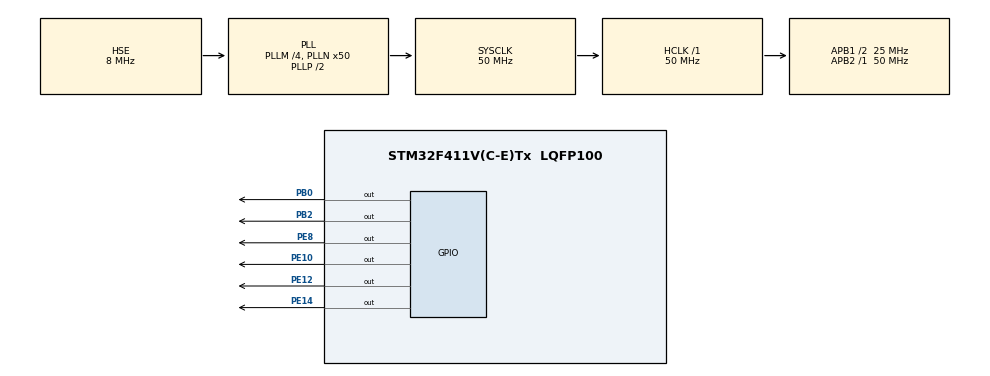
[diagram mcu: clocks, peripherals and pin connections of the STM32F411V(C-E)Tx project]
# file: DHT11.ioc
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Mcu.Family=STM32F4
Mcu.Name=STM32F411V(C-E)Tx
Mcu.Package=LQFP100
NVIC.PriorityGroup=NVIC_PRIORITYGROUP_4
PA13.Mode=Serial_Wire
PA13.Signal=SYS_JTMS-SWDIO
PA14.Mode=Serial_Wire
PA14.Signal=SYS_JTCK-SWCLK
PB0.GPIO_PuPd=GPIO_NOPULL
PB0.GPIO_Speed=GPIO_SPEED_FREQ_HIGH
PB0.Signal=GPIO_Output
PB2.GPIO_PuPd=GPIO_NOPULL
PB2.GPIO_Speed=GPIO_SPEED_FREQ_HIGH
PB2.Signal=GPIO_Output
PE10.GPIO_PuPd=GPIO_NOPULL
PE10.GPIO_Speed=GPIO_SPEED_FREQ_HIGH
PE10.Signal=GPIO_Output
PE12.GPIO_PuPd=GPIO_NOPULL
PE12.GPIO_Speed=GPIO_SPEED_FREQ_HIGH
PE12.Signal=GPIO_Output
PE14.GPIO_PuPd=GPIO_NOPULL
PE14.GPIO_Speed=GPIO_SPEED_FREQ_HIGH
PE14.Signal=GPIO_Output
PE8.GPIO_PuPd=GPIO_NOPULL
PE8.GPIO_Speed=GPIO_SPEED_FREQ_HIGH
PE8.Signal=GPIO_Output
PH0\ -\ OSC_IN.Mode=HSE-External-Oscillator
PH0\ -\ OSC_IN.Signal=RCC_OSC_IN
PH1\ -\ OSC_OUT.Mode=HSE-External-Oscillator
PH1\ -\ OSC_OUT.Signal=RCC_OSC_OUT
ProjectManager.HeapSize=0x200
ProjectManager.StackSize=0x400
ProjectManager.TargetToolchain=STM32CubeIDE
RCC.48MHZClocksFreq_Value=25000000
RCC.AHBFreq_Value=50000000
RCC.APB1CLKDivider=RCC_HCLK_DIV2
RCC.APB1Freq_Value=25000000
RCC.APB1TimFreq_Value=50000000
RCC.APB2Freq_Value=50000000
RCC.APB2TimFreq_Value=50000000
RCC.CortexFreq_Value=50000000
RCC.HCLKFreq_Value=50000000
RCC.HSE_VALUE=8000000
RCC.HSI_VALUE=16000000
RCC.LSE_VALUE=32768
RCC.PLLM=4
RCC.PLLN=50
RCC.PLLSourceVirtual=RCC_PLLSOURCE_HSE
RCC.SYSCLKFreq_VALUE=50000000
RCC.SYSCLKSource=RCC_SYSCLKSOURCE_PLLCLK
RCC.VCOOutputFreq_Value=100000000
TIM2.Period=0xffff-1
TIM2.Prescaler=50-1
VP_TIM2_VS_ClockSourceINT.Mode=Internal
board=custom

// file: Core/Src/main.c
/* USER CODE BEGIN Header */
/**
  ******************************************************************************
  * @file           : main.c
  * @brief          : Main program body
  ******************************************************************************
  * @attention
  *
  * Copyright (c) 2022 STMicroelectronics.
  * All rights reserved.
  *
  * This software is licensed under terms that can be found in the LICENSE file
  * in the root directory of this software component.
  * If no LICENSE file comes with this software, it is provided AS-IS.
  *
  ******************************************************************************
  */
/* USER CODE END Header */
#include "main.h"

/* USER CODE BEGIN Includes */
#include "string.h"
#include "lcd_text.h"
/* USER CODE END Includes */

 TIM_HandleTypeDef htim2;

void SystemClock_Config(void);
static void MX_GPIO_Init(void);
static void MX_TIM2_Init(void);

/* USER CODE BEGIN 0 */
#define DHT11_PORT GPIOA
#define DHT11_PIN GPIO_PIN_1
uint8_t Rh_byte1, Rh_byte2, Temp_byte1, Temp_byte2;
uint16_t SUM, RH, TEMP;

float Temperature = 0;
float Humidity = 0;
uint8_t Presence = 0;

void delay(uint16_t delay) {
	__HAL_TIM_SET_COUNTER(&htim2, 0);
	while (__HAL_TIM_GET_COUNTER(&htim2) < delay)
		;
}
void Set_Pin_Output(GPIO_TypeDef *GPIOx, uint16_t GPIO_Pin) {
	/* GPIO Ports Clock Enable */
	__HAL_RCC_GPIOH_CLK_ENABLE();
	__HAL_RCC_GPIOA_CLK_ENABLE();
	__HAL_RCC_GPIOD_CLK_ENABLE();
	__HAL_RCC_GPIOC_CLK_ENABLE();
	HAL_GPIO_WritePin(GPIOx, GPIO_Pin, GPIO_PIN_RESET);
	GPIO_InitTypeDef GPIO_InitStruct = { 0 };

	GPIO_InitStruct.Pin = GPIO_Pin;
	GPIO_InitStruct.Mode = GPIO_MODE_OUTPUT_PP;
	GPIO_InitStruct.Speed = GPIO_SPEED_FREQ_LOW;
	HAL_GPIO_Init(GPIOx, &GPIO_InitStruct);
}

void Set_Pin_Input(GPIO_TypeDef *GPIOx, uint16_t GPIO_Pin) {
	/* GPIO Ports Clock Enable */
	__HAL_RCC_GPIOH_CLK_ENABLE();
	__HAL_RCC_GPIOA_CLK_ENABLE();
	__HAL_RCC_GPIOD_CLK_ENABLE();
	__HAL_RCC_GPIOC_CLK_ENABLE();
	GPIO_InitTypeDef GPIO_InitStruct = { 0 };
	GPIO_InitStruct.Pin = GPIO_Pin;
	GPIO_InitStruct.Mode = GPIO_MODE_INPUT;
	GPIO_InitStruct.Pull = GPIO_PULLUP;
	HAL_GPIO_Init(GPIOx, &GPIO_InitStruct);
}

void DHT11_Start(void) {
	Set_Pin_Output(DHT11_PORT, DHT11_PIN);  // set the pin as output
	HAL_GPIO_WritePin(DHT11_PORT, DHT11_PIN, 0);   // pull the pin low
	delay(18000);   // wait for 18ms
	HAL_GPIO_WritePin(DHT11_PORT, DHT11_PIN, 1);   // pull the pin high
	delay(20);   // wait for 20us
	Set_Pin_Input(DHT11_PORT, DHT11_PIN);    // set as input
}

uint8_t DHT11_Check_Response(void) {
	uint8_t Response = 0;
	delay(40);
	if (!(HAL_GPIO_ReadPin(DHT11_PORT, DHT11_PIN))) {
		delay(80);
		if ((HAL_GPIO_ReadPin(DHT11_PORT, DHT11_PIN))) {
			Response = 1;
		} else {
			Response = -1;
		} // 255
	}
	while ((HAL_GPIO_ReadPin(DHT11_PORT, DHT11_PIN)))
		;   // wait for the pin to go low

	return Response;
}

uint8_t DHT11_Read(void) {
	uint8_t i, j;
	for (j = 0; j < 8; j++) {
		while (!(HAL_GPIO_ReadPin(DHT11_PORT, DHT11_PIN)))
			;   // wait for the pin to go high
		delay(40);   // wait for 40 us
		if (!(HAL_GPIO_ReadPin(DHT11_PORT, DHT11_PIN)))   // if the pin is low
		{
			i &= ~(1 << (7 - j));   // write 0
		} else {
			i |= (1 << (7 - j));
		}  // if the pin is high, write 1
		while ((HAL_GPIO_ReadPin(DHT11_PORT, DHT11_PIN)))
			;  // wait for the pin to go low
	}
	return i;
}
/* USER CODE END 0 */

int main(void)
{

  /* MCU Configuration--------------------------------------------------------*/

  /* Reset of all peripherals, Initializes the Flash interface and the Systick. */
  HAL_Init();

  /* Configure the system clock */
  SystemClock_Config();

  /* Initialize all configured peripherals */
  MX_GPIO_Init();
  MX_TIM2_Init();
  /* USER CODE BEGIN 2 */
	lcd_init();
	HAL_TIM_Base_Start(&htim2);
	char Humi[16] = { 0 };
	char Temp[16] = { 0 };
  /* USER CODE END 2 */

  /* Infinite loop */
  /* USER CODE BEGIN WHILE */
  while (1)
  {
		DHT11_Start();
		Presence = DHT11_Check_Response();
		Rh_byte1 = DHT11_Read();
		Rh_byte2 = DHT11_Read();
		Temp_byte1 = DHT11_Read();
		Temp_byte2 = DHT11_Read();
		SUM = DHT11_Read();
		TEMP = Temp_byte1;
		RH = Rh_byte1;
		Temperature = (float) (TEMP + (Temp_byte2 / 10.0));
		Humidity = (float) (RH + (Rh_byte2 / 10.0));
		sprintf(Humi, "Humi: %.2f", Humidity);
		sprintf(Temp, "Temp: %.2f", Temperature);
		lcd_puts(0, 0, (int8_t*) Humi);
		lcd_puts(1, 0, (int8_t*) Temp);
		HAL_Delay(3000);
    /* USER CODE END WHILE */

  }
}

void SystemClock_Config(void)
{
  RCC_OscInitTypeDef RCC_OscInitStruct = {0};
  RCC_ClkInitTypeDef RCC_ClkInitStruct = {0};

  /** Configure the main internal regulator output voltage
  */
  __HAL_RCC_PWR_CLK_ENABLE();
  __HAL_PWR_VOLTAGESCALING_CONFIG(PWR_REGULATOR_VOLTAGE_SCALE1);

  /** Initializes the RCC Oscillators according to the specified parameters
  * in the RCC_OscInitTypeDef structure.
  */
  RCC_OscInitStruct.OscillatorType = RCC_OSCILLATORTYPE_HSE;
  RCC_OscInitStruct.HSEState = RCC_HSE_ON;
  RCC_OscInitStruct.PLL.PLLState = RCC_PLL_ON;
  RCC_OscInitStruct.PLL.PLLSource = RCC_PLLSOURCE_HSE;
  RCC_OscInitStruct.PLL.PLLM = 4;
  RCC_OscInitStruct.PLL.PLLN = 50;
  RCC_OscInitStruct.PLL.PLLP = RCC_PLLP_DIV2;
  RCC_OscInitStruct.PLL.PLLQ = 4;
  if (HAL_RCC_OscConfig(&RCC_OscInitStruct) != HAL_OK)
  {
    Error_Handler();
  }

  /** Initializes the CPU, AHB and APB buses clocks
  */
  RCC_ClkInitStruct.ClockType = RCC_CLOCKTYPE_HCLK|RCC_CLOCKTYPE_SYSCLK
                              |RCC_CLOCKTYPE_PCLK1|RCC_CLOCKTYPE_PCLK2;
  RCC_ClkInitStruct.SYSCLKSource = RCC_SYSCLKSOURCE_PLLCLK;
  RCC_ClkInitStruct.AHBCLKDivider = RCC_SYSCLK_DIV1;
  RCC_ClkInitStruct.APB1CLKDivider = RCC_HCLK_DIV2;
  RCC_ClkInitStruct.APB2CLKDivider = RCC_HCLK_DIV1;

  if (HAL_RCC_ClockConfig(&RCC_ClkInitStruct, FLASH_LATENCY_1) != HAL_OK)
  {
    Error_Handler();
  }
}

static void MX_TIM2_Init(void)
{

  TIM_ClockConfigTypeDef sClockSourceConfig = {0};
  TIM_MasterConfigTypeDef sMasterConfig = {0};

  htim2.Instance = TIM2;
  htim2.Init.Prescaler = 50-1;
  htim2.Init.CounterMode = TIM_COUNTERMODE_UP;
  htim2.Init.Period = 0xffff-1;
  htim2.Init.ClockDivision = TIM_CLOCKDIVISION_DIV1;
  htim2.Init.AutoReloadPreload = TIM_AUTORELOAD_PRELOAD_DISABLE;
  if (HAL_TIM_Base_Init(&htim2) != HAL_OK)
  {
    Error_Handler();
  }
  sClockSourceConfig.ClockSource = TIM_CLOCKSOURCE_INTERNAL;
  if (HAL_TIM_ConfigClockSource(&htim2, &sClockSourceConfig) != HAL_OK)
  {
    Error_Handler();
  }
  sMasterConfig.MasterOutputTrigger = TIM_TRGO_RESET;
  sMasterConfig.MasterSlaveMode = TIM_MASTERSLAVEMODE_DISABLE;
  if (HAL_TIMEx_MasterConfigSynchronization(&htim2, &sMasterConfig) != HAL_OK)
  {
    Error_Handler();
  }

}

static void MX_GPIO_Init(void)
{
  GPIO_InitTypeDef GPIO_InitStruct = {0};

  /* GPIO Ports Clock Enable */
  __HAL_RCC_GPIOH_CLK_ENABLE();
  __HAL_RCC_GPIOB_CLK_ENABLE();
  __HAL_RCC_GPIOE_CLK_ENABLE();
  __HAL_RCC_GPIOA_CLK_ENABLE();

  /*Configure GPIO pin Output Level */
  HAL_GPIO_WritePin(GPIOB, GPIO_PIN_0|GPIO_PIN_2, GPIO_PIN_RESET);

  /*Configure GPIO pin Output Level */
  HAL_GPIO_WritePin(GPIOE, GPIO_PIN_8|GPIO_PIN_10|GPIO_PIN_12|GPIO_PIN_14, GPIO_PIN_RESET);

  /*Configure GPIO pins : PB0 PB2 */
  GPIO_InitStruct.Pin = GPIO_PIN_0|GPIO_PIN_2;
  GPIO_InitStruct.Mode = GPIO_MODE_OUTPUT_PP;
  GPIO_InitStruct.Pull = GPIO_NOPULL;
  GPIO_InitStruct.Speed = GPIO_SPEED_FREQ_HIGH;
  HAL_GPIO_Init(GPIOB, &GPIO_InitStruct);

  /*Configure GPIO pins : PE8 PE10 PE12 PE14 */
  GPIO_InitStruct.Pin = GPIO_PIN_8|GPIO_PIN_10|GPIO_PIN_12|GPIO_PIN_14;
  GPIO_InitStruct.Mode = GPIO_MODE_OUTPUT_PP;
  GPIO_InitStruct.Pull = GPIO_NOPULL;
  GPIO_InitStruct.Speed = GPIO_SPEED_FREQ_HIGH;
  HAL_GPIO_Init(GPIOE, &GPIO_InitStruct);

}

void Error_Handler(void)
{
  __disable_irq();
  while (1)
  {
  }
}
